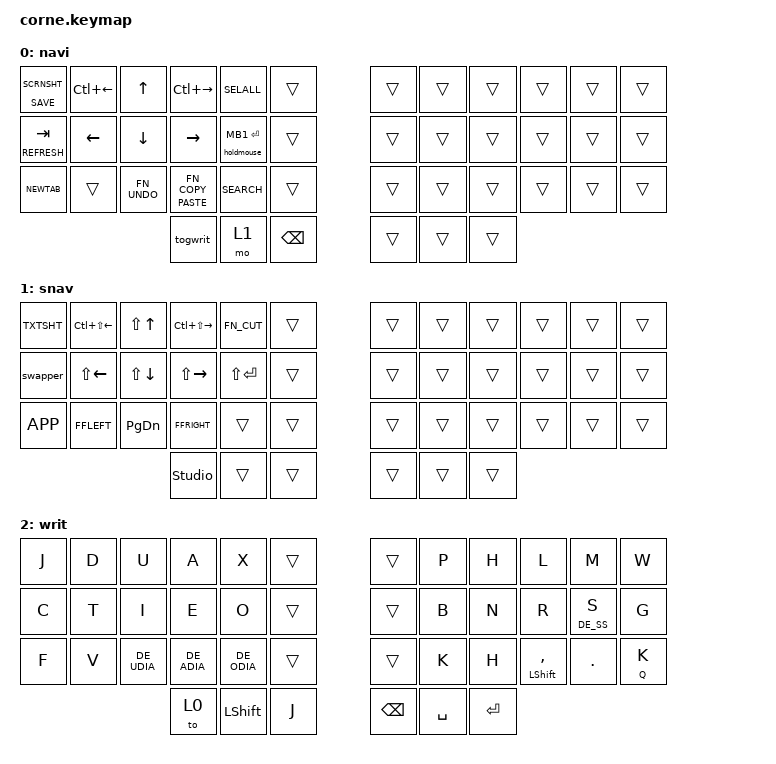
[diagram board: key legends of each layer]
#include <behaviors.dtsi>
#include <dt-bindings/zmk/keys.h>
#include <dt-bindings/zmk/bt.h>
#include <dt-bindings/zmk/pointing.h>

#include "zmk-helpers/helper.h"
#include "zmk-helpers/key-labels/42.h"
#define KEYS_L LT0 LT1 LT2 LT3 LT4 LT5 LM0 LM1 LM2 LM3 LM4 LM5 LB0 LB1 LB2 LB3 LB4 LB5 // Left-hand keys.
#define KEYS_R RT0 RT1 RT2 RT3 RT4 RT5 RM0 RM1 RM2 RM3 RM4 RM5 RB0 RB1 RB2 RB3 RB4 RB5  // Right-hand keys.
#define THUMBS LH2 LH1 LH0 RH0 RH1 RH2                                      // Thumb keys.

ZMK_HOLD_TAP(hml, flavor = "balanced"; tapping-term-ms = <280>; quick-tap-ms = <175>; require-prior-idle-ms = <150>; bindings = <&kp>, <&kp>; hold-trigger-key-positions = <KEYS_R THUMBS>; hold-trigger-on-release;)
ZMK_HOLD_TAP(hmr, flavor = "balanced"; tapping-term-ms = <280>; quick-tap-ms = <175>; require-prior-idle-ms = <150>; bindings = <&kp>, <&kp>; hold-trigger-key-positions = <KEYS_L THUMBS>; hold-trigger-on-release;)
ZMK_HOLD_TAP(ht, flavor = "balanced"; tapping-term-ms = <380>; quick-tap-ms = <125>; bindings = <&kp>, <&kp>;)
ZMK_HOLD_TAP(holdmouse, flavor = "balanced"; tapping-term-ms = <280>; quick-tap-ms = <125>; bindings = <&mkp>, <&kp>;)

#define ___ &trans

#include "german.dtsi"
#include "functions.dtsi"

ZMK_TRI_STATE(swapper, bindings = <&kt LALT>, <&kp TAB>, <&kt LALT>;)
ZMK_BEHAVIOR(togwrit, tap_dance, tapping-term-ms = <250>; bindings = <&mo 2>, <&to 2>;)
ZMK_BEHAVIOR(xnewtab, macro, wait-ms = <100>; tap-ms = <5>; bindings = <&macro_press &kp LCTRL>,<&macro_tap &kp T>,<&macro_release &kp LCTRL>;)
ZMK_BEHAVIOR(xsearch, macro, wait-ms = <100>; tap-ms = <5>; bindings = <&macro_press &kp LCTRL>,<&macro_tap &kp F>,<&macro_release &kp LCTRL>;)
ZMK_COMBO(xwin,  &kp LGUI, 13 14 15, ALL, 25)
ZMK_COMBO(xesc,  &kp ESC, 2 3, ALL, 25)


ZMK_LAYER(navi,
     // ╭─────────────┬─────────────┬─────────────┬─────────────┬─────────────┬─────────────╮   ╭─────────────┬─────────────┬─────────────┬─────────────┬─────────────┬─────────────╮
        &ht SAVE SCRNSHT &kp LC(LEFT)  &kp UP        &kp LC(RIGHT) &kp SELALL   ___                ___           ___           ___           ___           ___           ___
     // ├─────────────┼─────────────┼─────────────┼─────────────┼─────────────┼─────────────┤   ├─────────────┼─────────────┼─────────────┼─────────────┼─────────────┼─────────────┤
        &ht REFRESH TAB  &kp LEFT      &kp DOWN      &kp RIGHT  &holdmouse MB1 ENTER     ___               ___           ___           ___           ___           ___           ___         
     // ├─────────────┼─────────────┼─────────────┼─────────────┼─────────────┼─────────────┤   ├─────────────┼─────────────┼─────────────┼─────────────┼─────────────┼─────────────┤
         &kp NEWTAB      ___        &kp FN_UNDO   &ht PASTE FN_COPY   &kp SEARCH     ___                ___           ___           ___           ___           ___           ___
     // ╰─────────────┼─────────────┼─────────────┼─────────────┼─────────────┼─────────────┤   ├─────────────┼─────────────┼─────────────┼─────────────┼─────────────┼─────────────┤
                                                    &togwrit      &mo 1        &kp BSPC            ___           ___           ___
     //                                           ╰─────────────┴─────────────┴─────────────╯   ╰─────────────┴─────────────┴─────────────╯
)

ZMK_LAYER(snav,
     // ╭─────────────┬─────────────┬─────────────┬─────────────┬─────────────┬─────────────╮   ╭─────────────┬─────────────┬─────────────┬─────────────┬─────────────┬─────────────╮
          &kp TXTSHT   &kp LC(LS(LEFT)) &kp LS(UP) &kp LC(LS(RIGHT)) &kp FN_CUT ___               ___           ___           ___           ___           ___           ___
     // ├─────────────┼─────────────┼─────────────┼─────────────┼─────────────┼─────────────┤   ├─────────────┼─────────────┼─────────────┼─────────────┼─────────────┼─────────────┤
          &swapper     &kp LS(LEFT)   &kp LS(DOWN) &kp LS(RIGHT) &kp LS(ENTER) ___               ___           ___           ___           ___           ___           ___         
     // ├─────────────┼─────────────┼─────────────┼─────────────┼─────────────┼─────────────┤   ├─────────────┼─────────────┼─────────────┼─────────────┼─────────────┼─────────────┤
          &kp K_APP     &kp FFLEFT    &kp PG_DN     &kp FFRIGHT   ___           ___               ___           ___           ___           ___           ___           ___
     // ╰─────────────┼─────────────┼─────────────┼─────────────┼─────────────┼─────────────┤   ├─────────────┼─────────────┼─────────────┼─────────────┼─────────────┼─────────────┤
                                                    &studio_unlock ___           ___               ___           ___           ___
     //                                           ╰─────────────┴─────────────┴─────────────╯   ╰─────────────┴─────────────┴─────────────╯
)

ZMK_LAYER(writ,
     // ╭─────────────┬─────────────┬─────────────┬─────────────┬─────────────┬─────────────╮   ╭─────────────┬─────────────┬─────────────┬─────────────┬─────────────┬─────────────╮
          &kp J           &kp D         &kp U         &kp A         &kp X        ___                ___           &kp P         &kp H         &kp L         &kp M         &kp W         
     // ├─────────────┼─────────────┼─────────────┼─────────────┼─────────────┼─────────────┤   ├─────────────┼─────────────┼─────────────┼─────────────┼─────────────┼─────────────┤
          &kp C         &kp T         &kp I         &kp E         &kp O         ___               ___           &kp B         &kp N         &kp R         &ht DE_SS S  &kp G                
     // ├─────────────┼─────────────┼─────────────┼─────────────┼─────────────┼─────────────┤   ├─────────────┼─────────────┼─────────────┼─────────────┼─────────────┼─────────────┤
          &kp F         &kp V         &kp DE_UDIA   &kp DE_ADIA   &kp DE_ODIA   ___               ___           &kp K         &kp H      &hmr LSHIFT COMMA   &kp DOT       &ht Q K                
     // ╰─────────────┼─────────────┼─────────────┼─────────────┼─────────────┼─────────────┤   ├─────────────┼─────────────┼─────────────┼─────────────┼─────────────┼─────────────┤
                                                    &to 0         &kp LSHIFT   &kp J              &kp BSPC      &kp SPACE     &kp RET  
     //                                           ╰─────────────┴──── ────────┴─────────────╯   ╰─────────────┴─────────────┴─────────────╯
)




